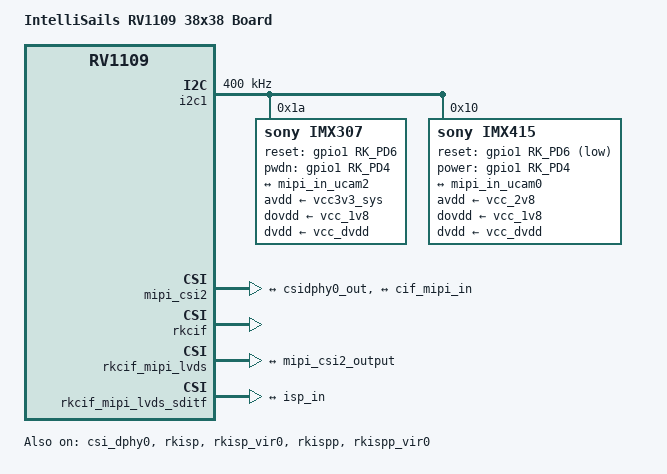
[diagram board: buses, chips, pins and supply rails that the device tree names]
// SPDX-License-Identifier: (GPL-2.0+ OR MIT)
/*
 * Copyright (c) 2020 Rockchip Electronics Co., Ltd.
 */

/dts-v1/;

#include "rv1126-38x38-intellisails.dts"

/ {
	model = "IntelliSails RV1109 38x38 Board";
	compatible = "intellisails,rv1109-38x38", "rockchip,rv1109";

	chosen {
		bootargs = "earlycon=uart8250,mmio32,0xff570000 console=ttyFIQ0 root=PARTUUID=614e0000-0000 rootfstype=ext4 rootwait snd_aloop.index=7";
	};

};

&csi_dphy0 {
	status = "okay";

	ports {
		#address-cells = <1>;
		#size-cells = <0>;
		port@0 {
			reg = <0>;
			#address-cells = <1>;
			#size-cells = <0>;

			mipi_in_ucam2: endpoint@1 {
				reg = <1>;
				remote-endpoint = <&ucam_out2>;
				data-lanes = <1 2 3 4>;
			};

			mipi_in_ucam0: endpoint@2 {
				reg = <2>;
				remote-endpoint = <&ucam_out0>;
				data-lanes = <1 2 3 4>;
			};
		};
		port@1 {
			reg = <1>;
			#address-cells = <1>;
			#size-cells = <0>;

			csidphy0_out: endpoint@0 {
				reg = <0>;
				remote-endpoint = <&mipi_csi2_input>;
			};
		};
	};
};

&i2c1 {
	status = "okay";
	clock-frequency = <400000>;

	imx307: imx307@1a {
		compatible = "sony,imx307";
		reg = <0x1a>;
		clocks = <&cru CLK_MIPICSI_OUT>;
		clock-names = "xvclk";
		power-domains = <&power RV1126_PD_VI>;
		pinctrl-names = "rockchip,camera_default";
		pinctrl-0 = <&mipicsi_clk0>;
		avdd-supply = <&vcc3v3_sys>;
		dovdd-supply = <&vcc_1v8>;
		dvdd-supply = <&vcc_dvdd>;
		reset-gpios = <&gpio1 RK_PD6 GPIO_ACTIVE_HIGH>;
		pwdn-gpios = <&gpio1 RK_PD4 GPIO_ACTIVE_HIGH>;
		rockchip,camera-module-index = <1>;
		rockchip,camera-module-facing = "front";
		rockchip,camera-module-name = "MTV4-IR-E-P";
		rockchip,camera-module-lens-name = "40IRC-4MP-F16";
		ir-cut = <&cam_ircut0>;
		flash-leds = <&flash_ir>;
		   port {
				   ucam_out2: endpoint {
						   remote-endpoint = <&mipi_in_ucam2>;
						   data-lanes = <1 2 3 4>;
				   };
		   };
	};

	imx415: imx415@10 {
		compatible = "sony,imx415";
		reg = <0x10>;
		clocks = <&cru CLK_MIPICSI_OUT>;
		clock-names = "xvclk";
		power-domains = <&power RV1126_PD_VI>;
		pinctrl-names = "rockchip,camera_default";
		pinctrl-0 = <&mipicsi_clk0>;
		//avdd-supply = <&vcc3v3_sys>;
		avdd-supply = <&vcc_2v8>;
		dovdd-supply = <&vcc_1v8>;
		dvdd-supply = <&vcc_dvdd>;
		reset-gpios = <&gpio1 RK_PD6 GPIO_ACTIVE_LOW>;
		power-gpios = <&gpio1 RK_PD4 GPIO_ACTIVE_HIGH>;
		rockchip,camera-module-index = <1>;
		rockchip,camera-module-facing = "front";
		rockchip,camera-module-name = "YT10092";
		rockchip,camera-module-lens-name = "IR0147-36IRC-8M-F20";
		//ir-cut = <&cam_ircut0>;
		//flash-leds = <&flash_ir>;
		   port {
				   ucam_out0: endpoint {
						   remote-endpoint = <&mipi_in_ucam0>;
						   data-lanes = <1 2 3 4>;
				   };
		   };
	};

};

&isp_reserved {
	size = <0x0AC00000>; // x0AC00000
};


&mipi_csi2 {
	status = "okay";

	ports {
		#address-cells = <1>;
		#size-cells = <0>;

		port@0 {
			reg = <0>;
			#address-cells = <1>;
			#size-cells = <0>;

			mipi_csi2_input: endpoint@1 {
				reg = <1>;
				remote-endpoint = <&csidphy0_out>;
				data-lanes = <1 2 3 4>;
			};
		};

		port@1 {
			reg = <1>;
			#address-cells = <1>;
			#size-cells = <0>;

			mipi_csi2_output: endpoint@0 {
				reg = <0>;
				remote-endpoint = <&cif_mipi_in>;
				data-lanes = <1 2 3 4>;
			};
		};
	};
};

&rkcif {
	status = "okay";
};

&rkcif_mmu {
	status = "disabled";
};

&rkcif_mipi_lvds {
	status = "okay";

	port {
		/* MIPI CSI-2 endpoint */
		cif_mipi_in: endpoint {
			remote-endpoint = <&mipi_csi2_output>;
			data-lanes = <1 2 3 4>;
		};
	};
};

&rkcif_mipi_lvds_sditf {
	status = "okay";

	port {
		/* MIPI CSI-2 endpoint */
		mipi_lvds_sditf: endpoint {
			remote-endpoint = <&isp_in>;
			data-lanes = <1 2 3 4>;
		};
	};
};

&rkisp {
	status = "okay";
};

&rkisp_vir0 {
	status = "okay";

	ports {
		port@0 {
			reg = <0>;
			#address-cells = <1>;
			#size-cells = <0>;

			isp_in: endpoint@0 {
				reg = <0>;
				remote-endpoint = <&mipi_lvds_sditf>;
			};
		};
		
		port@1 {
			reg = <1>;
			#address-cells = <1>;
			#size-cells = <0>;
			
			isp0_out: endpoint@1 {
				reg = <1>;
				remote-endpoint = <&ispp0_in>;
			};
		};
	};
};

&rkispp {
	status = "okay";
};

&rkispp_vir0 {
	status = "okay";
	
	port {
		#address-cells = <1>;
		#size-cells = <0>;
		
		ispp0_in: endpoint@0 {
			reg = <0>;
			remote-endpoint = <&isp0_out>;
		};
	};
};
